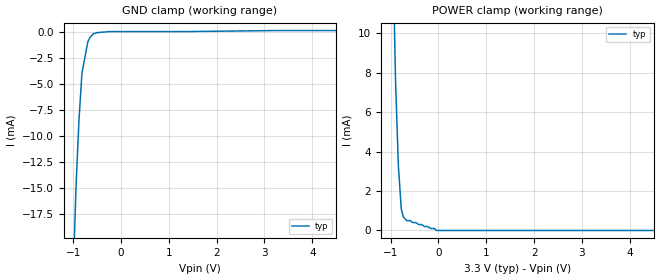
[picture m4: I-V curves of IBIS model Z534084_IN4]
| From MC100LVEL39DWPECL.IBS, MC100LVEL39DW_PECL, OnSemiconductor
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| (C) COPYRIGHT 1993-2000
| MENTOR GRAPHICS CORPORATION
| ICX STANDARD LIBRARY, ICX PROJECT MODELING,
| ICX CUSTOM MODELING, ICX VENDOR MODEL
| ALL RIGHTS RESERVED.
| THE FOLLOWING ARE TRADEMARKS OR SERVICE MARKS OF
| MENTOR GRAPHICS CORPORATION:ICX (R), ICX STANDARD
| LIBRARY(R), ICX PROJECT MODELING(R), ICX CUSTOM
| MODELING(R), qualityIBIS(TM), MODELVIEWER(TM),
| AND MODELEDITOR(TM)
| ALL COPIES OF SOFTWARE, INCLUDING BUT NOT LIMITED TO
| ANY MODIFICATIONS, ENHANCEMENTS OR DERIVATIVE WORKS,
| MUST CONTAIN ALL MENTOR GRAPHICS CORPORATION'S
| NOTICES AND LEGENDS, INCLUDING THOSE EMBEDDED IN
| SOFTWARE AND THOSE AFFIXED TO SOFTWARE MEDIUM
| AND CONTAINER, AS RECEIVED FROM MENTOR GRAPHICS
| CORPORATION.
| Model Application Version 1.89 2/18/99.
[Model] Z534084_IN4
Model_type Input_ECL
Vinl = 2.115V
Vinh = 2.301V
C_comp 4.000pF NA NA
| variable typ   min   max
[Voltage Range] 3.300V NA NA
[GND Clamp Reference] 0.000V NA NA
[POWER Clamp Reference] 3.300V NA NA
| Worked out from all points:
|   GND clamp passes 1 mA (typ) near -0.69 V on its own axis
|   POWER clamp passes 1 mA (typ) near -0.77 V on its own axis
[GND Clamp]
-3.3V     -455.6mA   NA         NA
-1.079V   -34.9mA    NA         NA
-937mV    -14.7mA    NA         NA
-876mV    -8.4mA     NA         NA
-815mV    -4mA       NA         NA
-693mV    -1mA       NA         NA
-653mV    -600uA     NA         NA
-572mV    -200uA     NA         NA
-245.5mV  0A         NA         NA
6.6V      100uA      NA         NA
[POWER Clamp]
-3.3V     737.8mA    NA         NA
-1.02V    22.7mA     NA         NA
-899mV    7.8mA      NA         NA
-838mV    3.3mA      NA         NA
-777mV    1.1mA      NA         NA
-736mV    700uA      NA         NA
-665mV    500uA      NA         NA
-594mV    500uA      NA         NA
-290mV    200uA      NA         NA
-87mV     100uA      NA         NA
-43.5mV   0A         NA         NA
6.6V      0A         NA         NA
